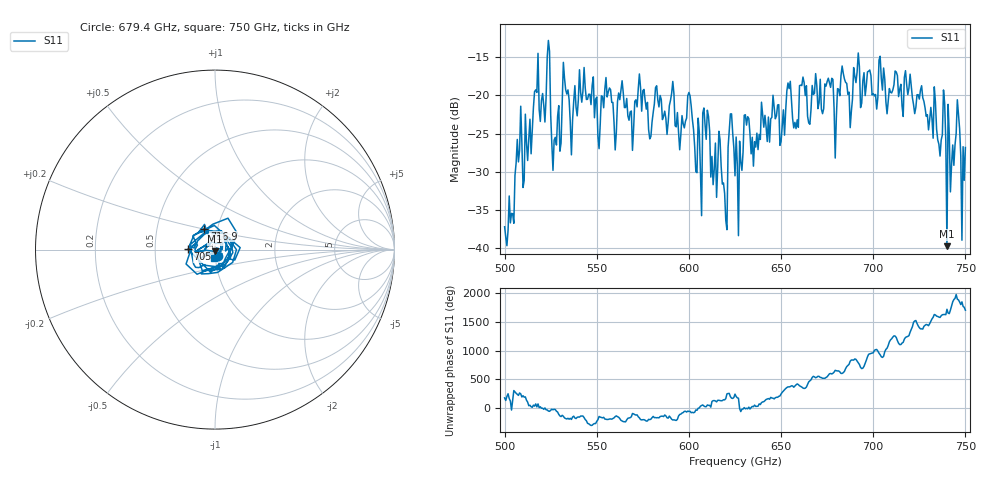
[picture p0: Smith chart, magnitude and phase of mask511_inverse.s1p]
!Created with skrf (http://scikit-rf.org).
# GHz S MA R 50.0
!freq magS11 angS11
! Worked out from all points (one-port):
!   401 points, 500 GHz to 750 GHz, reference 50 ohm
!   lowest |S11| = -39.7 dB at 740 GHz (marker M1), VSWR 1.02, Z = 50.1 - j1.02 ohm
!   |S11| at or under -10 dB: start of sweep to end of sweep
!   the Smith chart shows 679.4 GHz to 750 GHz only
!   S11 on the Smith chart (normalised r, x): 679.4 GHz: 1.03, -0.07; 705.6 GHz: 0.74, +0.00; 716.9 GHz: 0.87, +0.21; 750 GHz: 0.98, -0.09
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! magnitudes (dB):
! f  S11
! 500 GHz  -37.2
! 516.9 GHz  -19.3
! 520.6 GHz  -19.8
! 523.8 GHz  -12.8
! 526.9 GHz  -25.9
! 531.2 GHz  -21.1
! 560 GHz  -27.1
! 562.5 GHz  -20.6
! 579.4 GHz  -25.4
! 590.6 GHz  -19.7
! 593.8 GHz  -22.3
! 600.6 GHz  -20.1
! 605.6 GHz  -24.8
! 609.4 GHz  -25.8
! 619.4 GHz  -32.8
! 622.5 GHz  -22.4
! 625 GHz  -30.5
! 656.2 GHz  -23.0
! 676.9 GHz  -19.0
! 679.4 GHz  -28.2
! 683.8 GHz  -17.1
! 687.5 GHz  -24.2
! 690.6 GHz  -18.3
! 705.6 GHz  -16.4
! 716.9 GHz  -17.7
! 718.8 GHz  -19.9
! 740 GHz  -39.7
! 750 GHz  -26.8
